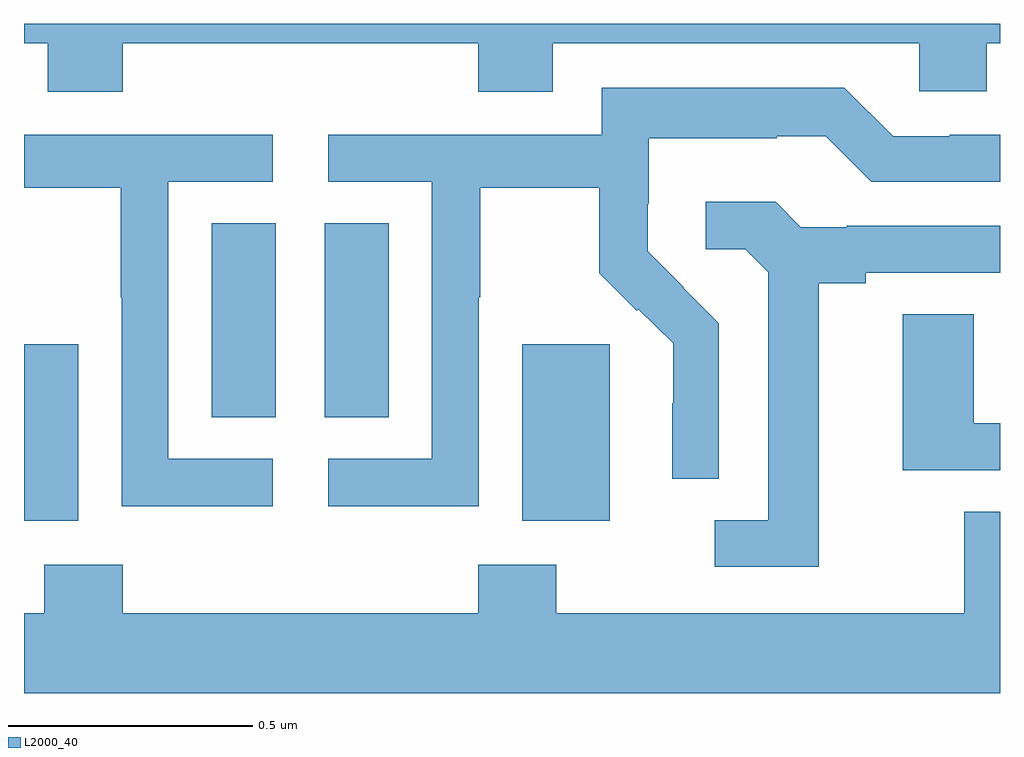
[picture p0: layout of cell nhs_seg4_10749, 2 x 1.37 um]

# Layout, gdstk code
import gdstk
lib = gdstk.Library(unit=1e-6, precision=1e-09)
def R(c, l, rs):  # rectangles x0, y0, x1, y1
    for r in rs: c.add(gdstk.rectangle(r[:2], r[2:], *l))
def P(c, l, *ps):  # polygons
    for p in ps: c.add(gdstk.Polygon(p, *l))
L2000_40 = (2000, 40)

nhs_seg4_10749 = lib.new_cell('nhs_seg4_10749')
R(nhs_seg4_10749, L2000_40, [(244,755.882,244.111,756.243), (245.021,755.882,245.2,756.243), (244.385,756.094,244.516,756.491), (244.616,756.094,244.747,756.491)])
P(nhs_seg4_10749, L2000_40, [(244.202,756.86),(244.931,756.86),(244.931,756.761),(245.083,756.761),(245.083,756.86),(245.835,756.86),(245.835,756.762),(245.973,756.762),(245.973,756.86),(246,756.86),(246,756.9),(244,756.9),(244,756.86),(244.049,756.86),(244.049,756.761),(244.202,756.761)],
  [(244.932,756.34),(244.935,756.34),(244.935,756.564),(245.179,756.564),(245.179,756.389),(245.256,756.312),(245.259,756.315),(245.33,756.245),(245.33,756.122),(245.328,756.122),(245.328,755.968),(245.424,755.968),(245.424,756.286),(245.351,756.359),(245.352,756.36),(245.278,756.434),(245.278,756.531),(245.28,756.531),(245.28,756.665),(245.543,756.665),(245.543,756.669),(245.643,756.669),(245.736,756.576),(246,756.576),(246,756.672),(245.897,756.672),(245.897,756.669),(245.781,756.669),(245.681,756.769),(245.184,756.769),(245.184,756.672),(244.623,756.672),(244.623,756.576),(244.836,756.576),(244.836,756.009),(244.623,756.009),(244.623,755.911),(244.932,755.911)],
  [(244.51,756.009),(244.296,756.009),(244.296,756.576),(244.51,756.576),(244.51,756.672),(244,756.672),(244,756.564),(244.198,756.564),(244.198,756.34),(244.2,756.34),(244.2,755.911),(244.51,755.911)],
  [(245.629,756.368),(245.725,756.368),(245.725,756.39),(246,756.39),(246,756.486),(245.686,756.486),(245.686,756.483),(245.592,756.483),(245.54,756.535),(245.397,756.535),(245.397,756.438),(245.478,756.438),(245.525,756.391),(245.525,755.883),(245.415,755.883),(245.415,755.787),(245.629,755.787)],
  [(246,756.081),(245.946,756.081),(245.946,756.305),(245.801,756.305),(245.801,755.985),(246,755.985)],
  [(246,755.9),(245.927,755.9),(245.927,755.692),(245.091,755.692),(245.091,755.791),(244.931,755.791),(244.931,755.692),(244.202,755.692),(244.202,755.791),(244.042,755.791),(244.042,755.692),(244,755.692),(244,755.528),(246,755.528)])

lib.write_gds('nhs_seg4_10749.gds')
